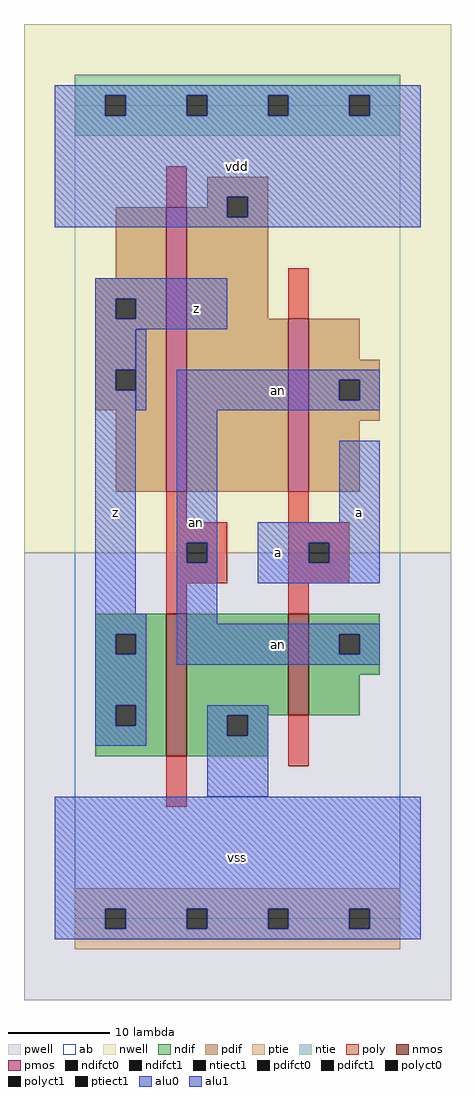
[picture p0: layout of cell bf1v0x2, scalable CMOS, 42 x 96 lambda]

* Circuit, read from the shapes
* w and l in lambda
.subckt bf1v0x2 a an vdd vss z
M1 vss an z vss nfet w=14 l=2
M2 an a vss vss nfet w=10 l=2
M3 vdd an z vdd pfet w=28 l=2
M4 an a vdd vdd pfet w=17 l=2
.ends

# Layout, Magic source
magic
tech scmos
<< ab >>
rect 0 0 32 80
<< nwell >>
rect -5 36 37 88
<< pwell >>
rect -5 -8 37 36
<< poly >>
rect 9 70 11 74
rect 21 59 23 64
rect 9 39 11 42
rect 21 39 23 42
rect 9 37 15 39
rect 9 35 11 37
rect 13 35 15 37
rect 9 33 15 35
rect 21 37 27 39
rect 21 35 23 37
rect 25 35 27 37
rect 21 33 27 35
rect 9 30 11 33
rect 21 30 23 33
rect 9 11 11 16
rect 21 15 23 20
<< ndif >>
rect 2 28 9 30
rect 2 26 4 28
rect 6 26 9 28
rect 2 21 9 26
rect 2 19 4 21
rect 6 19 9 21
rect 2 16 9 19
rect 11 20 21 30
rect 23 28 30 30
rect 23 26 26 28
rect 28 26 30 28
rect 23 24 30 26
rect 23 20 28 24
rect 11 18 15 20
rect 17 18 19 20
rect 11 16 19 18
<< pdif >>
rect 13 71 19 73
rect 13 70 15 71
rect 4 63 9 70
rect 2 61 9 63
rect 2 59 4 61
rect 6 59 9 61
rect 2 54 9 59
rect 2 52 4 54
rect 6 52 9 54
rect 2 50 9 52
rect 4 42 9 50
rect 11 69 15 70
rect 17 69 19 71
rect 11 59 19 69
rect 11 42 21 59
rect 23 55 28 59
rect 23 53 30 55
rect 23 51 26 53
rect 28 51 30 53
rect 23 49 30 51
rect 23 42 28 49
<< alu1 >>
rect -2 81 34 82
rect -2 79 3 81
rect 5 79 11 81
rect 13 79 19 81
rect 21 79 27 81
rect 29 79 34 81
rect -2 71 34 79
rect -2 69 15 71
rect 17 69 34 71
rect -2 68 34 69
rect 2 61 15 63
rect 2 59 4 61
rect 6 59 15 61
rect 2 58 15 59
rect 2 54 6 58
rect 2 52 4 54
rect 2 30 6 52
rect 26 39 30 47
rect 2 28 7 30
rect 2 26 4 28
rect 6 26 7 28
rect 2 21 7 26
rect 18 37 30 39
rect 18 35 23 37
rect 25 35 30 37
rect 18 33 30 35
rect 2 19 4 21
rect 6 19 7 21
rect 2 17 7 19
rect -2 1 34 12
rect -2 -1 3 1
rect 5 -1 11 1
rect 13 -1 19 1
rect 21 -1 27 1
rect 29 -1 34 1
rect -2 -2 34 -1
<< ptie >>
rect 0 1 32 3
rect 0 -1 3 1
rect 5 -1 11 1
rect 13 -1 19 1
rect 21 -1 27 1
rect 29 -1 32 1
rect 0 -3 32 -1
<< ntie >>
rect 0 81 32 83
rect 0 79 3 81
rect 5 79 11 81
rect 13 79 19 81
rect 21 79 27 81
rect 29 79 32 81
rect 0 77 32 79
<< nmos >>
rect 9 16 11 30
rect 21 20 23 30
<< pmos >>
rect 9 42 11 70
rect 21 42 23 59
<< polyct0 >>
rect 11 35 13 37
<< polyct1 >>
rect 23 35 25 37
<< ndifct0 >>
rect 26 26 28 28
rect 15 18 17 20
<< ndifct1 >>
rect 4 26 6 28
rect 4 19 6 21
<< ntiect1 >>
rect 3 79 5 81
rect 11 79 13 81
rect 19 79 21 81
rect 27 79 29 81
<< ptiect1 >>
rect 3 -1 5 1
rect 11 -1 13 1
rect 19 -1 21 1
rect 27 -1 29 1
<< pdifct0 >>
rect 26 51 28 53
<< pdifct1 >>
rect 4 59 6 61
rect 4 52 6 54
rect 15 69 17 71
<< alu0 >>
rect 6 50 7 58
rect 10 53 30 54
rect 10 51 26 53
rect 28 51 30 53
rect 10 50 30 51
rect 10 37 14 50
rect 10 35 11 37
rect 13 35 14 37
rect 10 29 14 35
rect 10 28 30 29
rect 10 26 26 28
rect 28 26 30 28
rect 10 25 30 26
rect 13 20 19 21
rect 13 18 15 20
rect 17 18 19 20
rect 13 12 19 18
<< labels >>
rlabel alu0 12 39 12 39 6 an
rlabel alu0 20 27 20 27 6 an
rlabel alu0 20 52 20 52 6 an
rlabel alu1 4 40 4 40 6 z
rlabel alu1 16 6 16 6 6 vss
rlabel alu1 12 60 12 60 6 z
rlabel alu1 16 74 16 74 6 vdd
rlabel alu1 20 36 20 36 6 a
rlabel alu1 28 40 28 40 6 a
<< end >>
